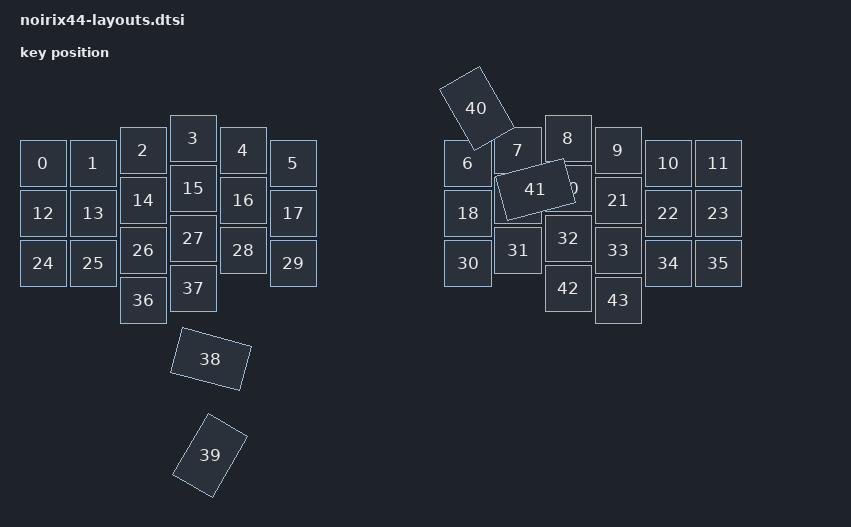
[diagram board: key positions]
/*
*
* Copyright (c) 2024 The ZMK Contributors
* SPDX-License-Identifier: MIT
*
*/

#include <physical_layouts.dtsi>

/ {
    default_layout: default_layout {
        compatible = "zmk,physical-layout";
        display-name = "Layout";

        transform = <&default_transform>;

        keys  //                     w   h    x    y     rot    rx    ry
            = <&key_physical_attrs 100 100    0   50       0     0     0>
            , <&key_physical_attrs 100 100  100   50       0     0     0>
            , <&key_physical_attrs 100 100  200   25       0     0     0>
            , <&key_physical_attrs 100 100  300    0       0     0     0>
            , <&key_physical_attrs 100 100  400   25       0     0     0>
            , <&key_physical_attrs 100 100  500   50       0     0     0>
            , <&key_physical_attrs 100 100  850   50       0     0     0>
            , <&key_physical_attrs 100 100  950   25       0     0     0>
            , <&key_physical_attrs 100 100 1050    0       0     0     0>
            , <&key_physical_attrs 100 100 1150   25       0     0     0>
            , <&key_physical_attrs 100 100 1250   50       0     0     0>
            , <&key_physical_attrs 100 100 1350   50       0     0     0>
            , <&key_physical_attrs 100 100    0  150       0     0     0>
            , <&key_physical_attrs 100 100  100  150       0     0     0>
            , <&key_physical_attrs 100 100  200  125       0     0     0>
            , <&key_physical_attrs 100 100  300  100       0     0     0>
            , <&key_physical_attrs 100 100  400  125       0     0     0>
            , <&key_physical_attrs 100 100  500  150       0     0     0>
            , <&key_physical_attrs 100 100  850  150       0     0     0>
            , <&key_physical_attrs 100 100  950  125       0     0     0>
            , <&key_physical_attrs 100 100 1050  100       0     0     0>
            , <&key_physical_attrs 100 100 1150  125       0     0     0>
            , <&key_physical_attrs 100 100 1250  150       0     0     0>
            , <&key_physical_attrs 100 100 1350  150       0     0     0>
            , <&key_physical_attrs 100 100    0  250       0     0     0>
            , <&key_physical_attrs 100 100  100  250       0     0     0>
            , <&key_physical_attrs 100 100  200  225       0     0     0>
            , <&key_physical_attrs 100 100  300  200       0     0     0>
            , <&key_physical_attrs 100 100  400  225       0     0     0>
            , <&key_physical_attrs 100 100  500  250       0     0     0>
            , <&key_physical_attrs 100 100  850  250       0     0     0>
            , <&key_physical_attrs 100 100  950  225       0     0     0>
            , <&key_physical_attrs 100 100 1050  200       0     0     0>
            , <&key_physical_attrs 100 100 1150  225       0     0     0>
            , <&key_physical_attrs 100 100 1250  250       0     0     0>
            , <&key_physical_attrs 100 100 1350  250       0     0     0>
            , <&key_physical_attrs 100 100  200  325       0     0     0>
            , <&key_physical_attrs 100 100  300  300       0     0     0>
            , <&key_physical_attrs 150 100  425  325    1500     0     0>
            , <&key_physical_attrs 100 150  625  325    3000     0     0>
            , <&key_physical_attrs 100 150  750  375 (-3000)     0     0>
            , <&key_physical_attrs 150 100  885  365 (-1500)     0     0>
            , <&key_physical_attrs 100 100 1050  300       0     0     0>
            , <&key_physical_attrs 100 100 1150  325       0     0     0>
            ;
    };
};
